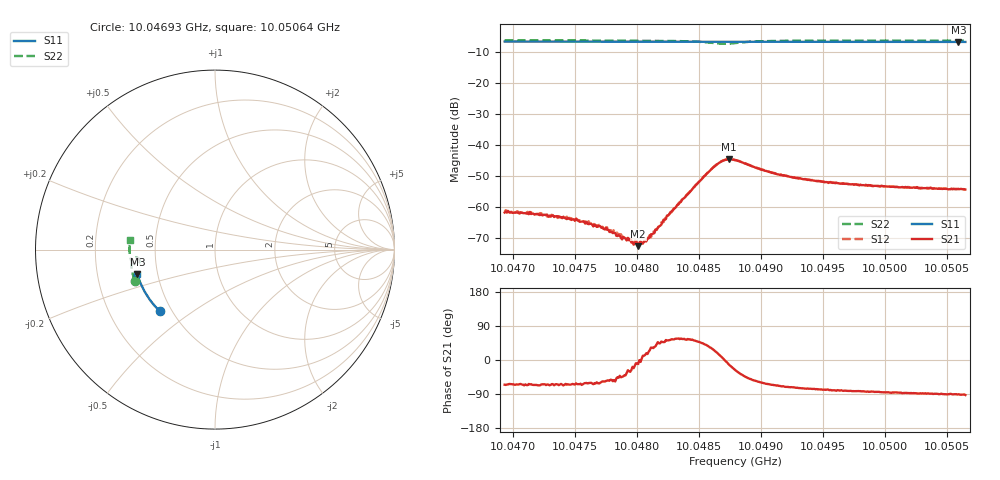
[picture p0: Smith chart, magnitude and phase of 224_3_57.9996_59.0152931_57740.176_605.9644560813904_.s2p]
#  HZ  S  RI  R  50.00
! Rohde & Schwarz Vector Network Analyzer
! Rohde-Schwarz,ZNB20-2Port,1311601062101988,3.16
! Created: UTC 3/21/2024, 1:00:17 AM
! freq[Hz]  re:S11  im:S11  re:S21  im:S21  re:S12  im:S12  re:S22  im:S22
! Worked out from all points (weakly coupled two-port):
!   401 points, 10.04693 GHz to 10.05064 GHz, reference 50 ohm
!   highest |S21| = -44.73 dB at 10.04874 GHz (marker M1); lowest = -72.7 dB at 10.04801 GHz (marker M2)
!   lowest |S11| = -6.9 dB at 10.05059 GHz (marker M3), VSWR 2.66, Z = 19.2 - j6.65 ohm
!   |S11| at or under -10 dB: nowhere
!   |S22| runs from -7.5 to -6.4 dB; largest |S21 - S12| = 0.00041
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1.0046932e10  -0.3089 -0.3416  0.00034 -0.000731  0.000395 -0.000734  -0.4468 -0.1741
1.0047257e10  -0.3241 -0.3263  0.00032 -0.000664  0.000389 -0.000667  -0.4538 -0.1529
1.0047554e10  -0.3374 -0.3118  0.000237 -0.000525  0.000315 -0.000522  -0.4592 -0.1327
1.0047702e10  -0.3435 -0.3043  0.000242 -0.000422  0.000269 -0.000432  -0.4615 -0.122
1.0047786e10  -0.3471 -0.3  0.000241 -0.000308  0.000239 -0.000344  -0.4626 -0.1161
1.0047832e10  -0.3491 -0.2976  0.000225 -0.000255  0.000274 -0.000275  -0.4633 -0.1125
1.0047897e10  -0.3518 -0.2942  0.000242 -0.000205  0.000236 -0.000194  -0.4639 -0.1076
1.004799e10  -0.3554 -0.2892  0.000265 -3.93e-05  0.000275 -4.94e-05  -0.4649 -0.1004
1.0048009e10  -0.3563 -0.2884  0.000227 -4.28e-05  0.000231 -1.17e-05  -0.465 -0.099
1.0048027e10  -0.357 -0.2874  0.000277 -2.48e-05  0.000265 1.79e-05  -0.4652 -0.0974
1.0048055e10  -0.358 -0.286  0.000267 5.26e-05  0.000278 4.34e-05  -0.4654 -0.0951
1.0048176e10  -0.3629 -0.2796  0.000345 0.000333  0.000325 0.000362  -0.4656 -0.0848
1.0048259e10  -0.366 -0.2751  0.000461 0.000601  0.000428 0.000628  -0.4648 -0.0769
1.0048594e10  -0.378 -0.2566  0.00333 0.0021  0.0032 0.00231  -0.4376 -0.0452
1.0048677e10  -0.3809 -0.252  0.00527 0.000854  0.00525 0.00116  -0.4214 -0.055
1.0048742e10  -0.3829 -0.2486  0.00565 -0.00129  0.00576 -0.000896  -0.4212 -0.0713
1.0048788e10  -0.3846 -0.246  0.00503 -0.00245  0.00525 -0.0022  -0.4289 -0.0795
1.0049132e10  -0.3962 -0.2266  0.00129 -0.00307  0.00145 -0.00304  -0.4682 -0.0574
1.004941e10  -0.4045 -0.2102  0.00063 -0.0026  0.000765 -0.00259  -0.474 -0.0332
1.0050032e10  -0.4208 -0.1726  0.000152 -0.00211  0.0003 -0.0021  -0.4764 0.0129
1.0050589e10  -0.4326 -0.1378  -1.12e-05 -0.00192  9.11e-05 -0.00194  -0.4736 0.0509
1.0050645e10  -0.4337 -0.1345  -7.93e-05 -0.00189  6.75e-05 -0.00189  -0.4732 0.0548
